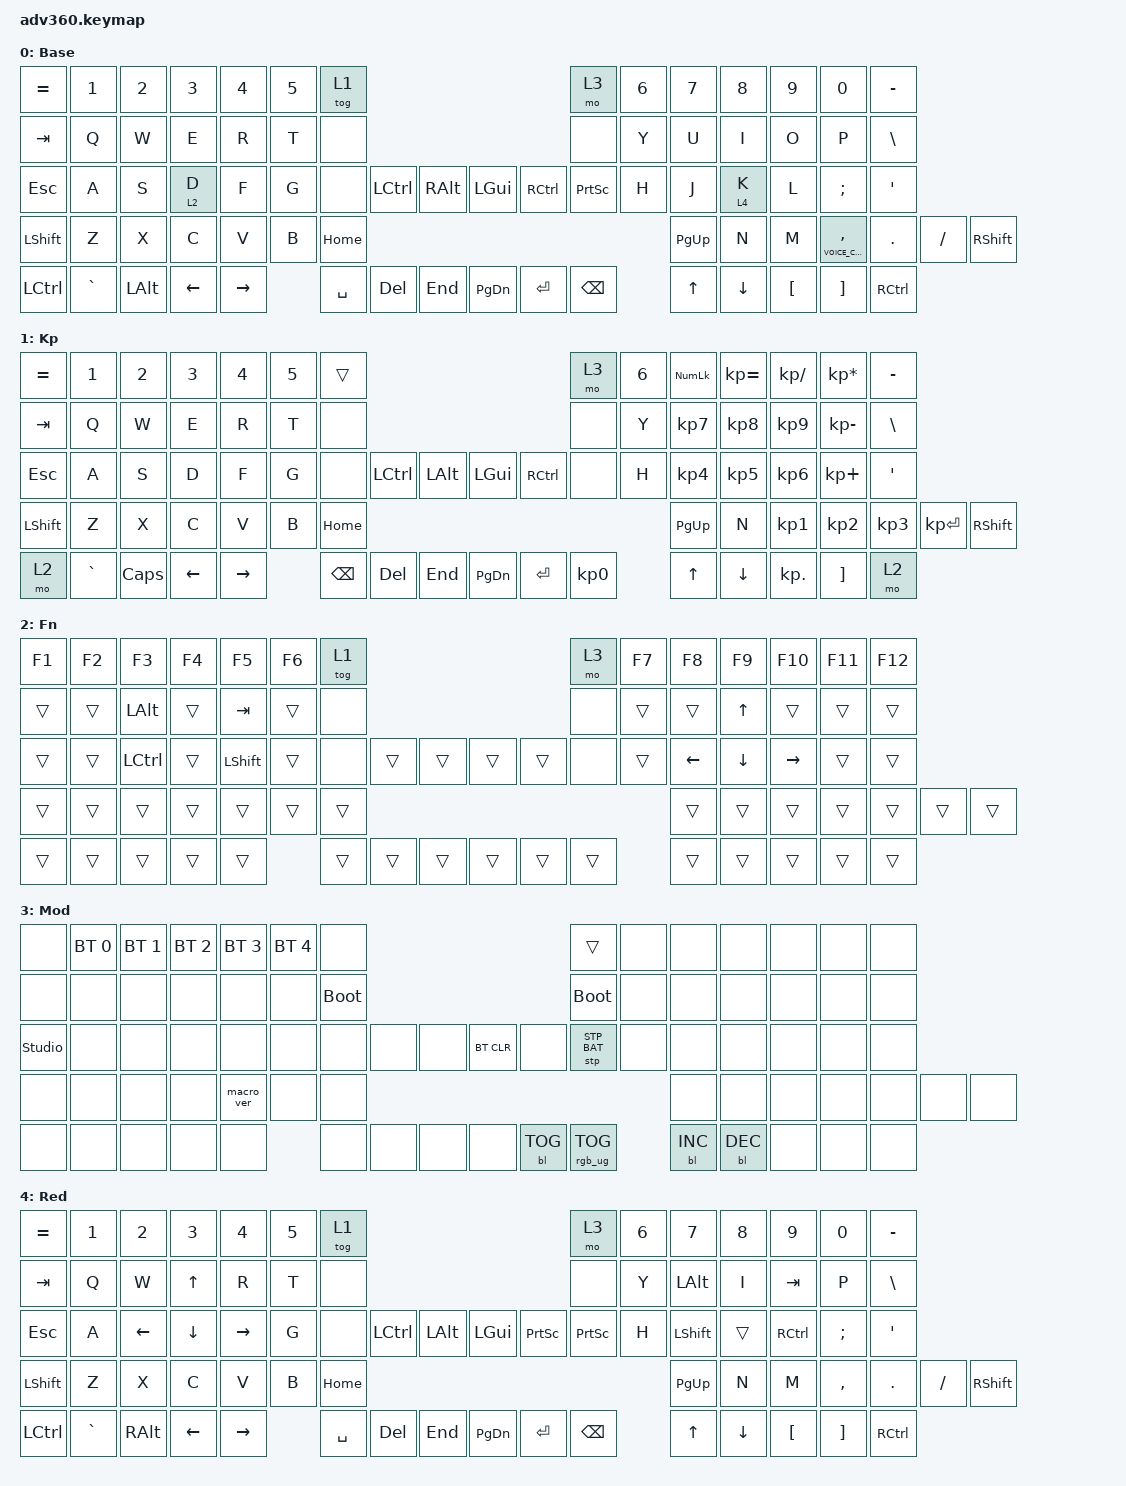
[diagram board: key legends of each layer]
#include <dt-bindings/zmk/stp.h>
#include <behaviors.dtsi>
#include <dt-bindings/zmk/backlight.h>
#include <dt-bindings/zmk/bt.h>
#include <dt-bindings/zmk/keys.h>
#include <dt-bindings/zmk/rgb.h>

/ {
    behaviors {
        #include "macros.dtsi"
      #include "version.dtsi"

        hm: homerow_mods {
            compatible = "zmk,behavior-hold-tap";
            label = "HOMEROW_MODS";
            #binding-cells = <2>;
            tapping-term-ms = <250>;
            quick_tap_ms = <175>;
            flavor = "tap-preferred";
            bindings = <&kp>, <&kp>;
            require-prior-idle-ms = <100>;
        };

        homerow_layer: homerow_layer {
            compatible = "zmk,behavior-hold-tap";
            label = "HOMEROW_LAYER";
            #binding-cells = <2>;
            tapping-term-ms = <250>;
            quick_tap_ms = <175>;
            flavor = "tap-preferred";
            bindings = <&mo>, <&kp>;

            require-prior-idle-ms = <100>;
        };

    };

    keymap {
        compatible = "zmk,keymap";

        default_layer {
            display-name = "Base";
            bindings = <
&kp EQUAL         &kp N1     &kp N2        &kp N3              &kp N4     &kp N5  &tog 1                                                         &mo 3            &kp N6  &kp N7  &kp N8              &kp N9    &kp N0    &kp MINUS
&kp TAB           &kp Q      &kp W         &kp E               &kp R      &kp T   &none                                                          &none            &kp Y   &kp U   &kp I               &kp O     &kp P     &kp BSLH
&kp ESC           &kp A      &kp S         &homerow_layer 2 D  &kp F      &kp G   &none      &kp LCTRL  &kp RIGHT_ALT      &kp LGUI   &kp RCTRL  &kp PRINTSCREEN  &kp H   &kp J   &homerow_layer 4 K  &kp L     &kp SEMI  &kp SQT
&kp LSHFT         &kp Z      &kp X         &kp C               &kp V      &kp B                         &kp HOME           &kp PG_UP                              &kp N   &kp M   &hm C_VOICE_COMMAND COMMA           &kp DOT   &kp FSLH  &kp RSHFT
&kp LEFT_CONTROL  &kp GRAVE  &kp LEFT_ALT  &kp LEFT            &kp RIGHT          &kp SPACE  &kp DEL    &kp END            &kp PG_DN  &kp ENTER  &kp BACKSPACE            &kp UP  &kp DOWN            &kp LBKT  &kp RBKT  &kp RIGHT_CONTROL
            >;
        };

        keypad {
            display-name = "Kp";
            bindings = <
&kp EQUAL  &kp N1     &kp N2    &kp N3    &kp N4     &kp N5  &trans                                                   &mo 3      &kp N6  &kp KP_NUM  &kp KP_EQUAL  &kp KP_DIVIDE  &kp KP_MULTIPLY  &kp MINUS
&kp TAB    &kp Q      &kp W     &kp E     &kp R      &kp T   &none                                                    &none      &kp Y   &kp KP_N7   &kp KP_N8     &kp KP_N9      &kp KP_MINUS     &kp BSLH
&kp ESC    &kp A      &kp S     &kp D     &kp F      &kp G   &none     &kp LCTRL  &kp LALT      &kp LGUI   &kp RCTRL  &none      &kp H   &kp KP_N4   &kp KP_N5     &kp KP_N6      &kp KP_PLUS      &kp SQT
&kp LSHFT  &kp Z      &kp X     &kp C     &kp V      &kp B                        &kp HOME      &kp PG_UP                        &kp N   &kp KP_N1   &kp KP_N2     &kp KP_N3      &kp KP_ENTER     &kp RSHFT
&mo 2      &kp GRAVE  &kp CAPS  &kp LEFT  &kp RIGHT          &kp BSPC  &kp DEL    &kp END       &kp PG_DN  &kp ENTER  &kp KP_N0          &kp UP      &kp DOWN      &kp KP_DOT     &kp RBKT         &mo 2
            >;
        };

        fn {
            display-name = "Fn";
            bindings = <
&kp F1  &kp F2  &kp F3            &kp F4  &kp F5          &kp F6  &tog 1                                      &mo 3   &kp F7  &kp F8          &kp F9          &kp F10    &kp F11  &kp F12
&trans  &trans  &kp LEFT_ALT      &trans  &kp TAB         &trans  &none                                       &none   &trans  &trans          &kp UP_ARROW    &trans     &trans   &trans
&trans  &trans  &kp LEFT_CONTROL  &trans  &kp LEFT_SHIFT  &trans  &none   &trans  &trans      &trans  &trans  &none   &trans  &kp LEFT_ARROW  &kp DOWN_ARROW  &kp RIGHT  &trans   &trans
&trans  &trans  &trans            &trans  &trans          &trans                  &trans      &trans                  &trans  &trans          &trans          &trans     &trans   &trans
&trans  &trans  &trans            &trans  &trans                  &trans  &trans  &trans      &trans  &trans  &trans          &trans          &trans          &trans     &trans   &trans
            >;
        };

        mod {
            display-name = "Mod";
            bindings = <
&none           &bt BT_SEL 0  &bt BT_SEL 1  &bt BT_SEL 2  &bt BT_SEL 3  &bt BT_SEL 4  &none                                                  &trans           &none  &none       &none       &none  &none  &none
&none           &none         &none         &none         &none         &none         &bootloader                                            &bootloader      &none  &none       &none       &none  &none  &none
&studio_unlock  &none         &none         &none         &none         &none         &none        &none  &none      &bt BT_CLR  &none       &stp STP_BAT     &none  &none       &none       &none  &none  &none
&none           &none         &none         &none         &macro_ver    &none                             &none      &none                                    &none  &none       &none       &none  &none  &none
&none           &none         &none         &none         &none                       &none        &none  &none      &none       &bl BL_TOG  &rgb_ug RGB_TOG         &bl BL_INC  &bl BL_DEC  &none  &none  &none
            >;
        };

        extra1 {
            display-name = "Red";
            bindings = <
&kp EQUAL         &kp N1     &kp N2         &kp N3        &kp N4     &kp N5  &tog 1                                                          &mo 3            &kp N6  &kp N7          &kp N8     &kp N9     &kp N0    &kp MINUS
&kp TAB           &kp Q      &kp W          &kp UP_ARROW  &kp R      &kp T   &none                                                           &none            &kp Y   &kp LEFT_ALT    &kp I      &kp TAB    &kp P     &kp BSLH
&kp ESC           &kp A      &kp LEFT       &kp DOWN      &kp RIGHT  &kp G   &none      &kp LCTRL  &kp LALT      &kp LGUI   &kp PRINTSCREEN  &kp PRINTSCREEN  &kp H   &kp LEFT_SHIFT  &trans     &kp RCTRL  &kp SEMI  &kp SQT
&kp LSHFT         &kp Z      &kp X          &kp C         &kp V      &kp B                         &kp HOME      &kp PG_UP                                    &kp N   &kp M           &kp COMMA  &kp DOT    &kp FSLH  &kp RSHFT
&kp LEFT_CONTROL  &kp GRAVE  &kp RIGHT_ALT  &kp LEFT      &kp RIGHT          &kp SPACE  &kp DEL    &kp END       &kp PG_DN  &kp ENTER        &kp BACKSPACE            &kp UP          &kp DOWN   &kp LBKT   &kp RBKT  &kp RIGHT_CONTROL
            >;
        };

        extra2 {
            display-name = "Purple";
            status = "reserved";
        };

        extra3 {
            display-name = "Cyan";
            status = "reserved";
        };

        extra4 {
            display-name = "Yellow";
            status = "reserved";
        };
    };
};
